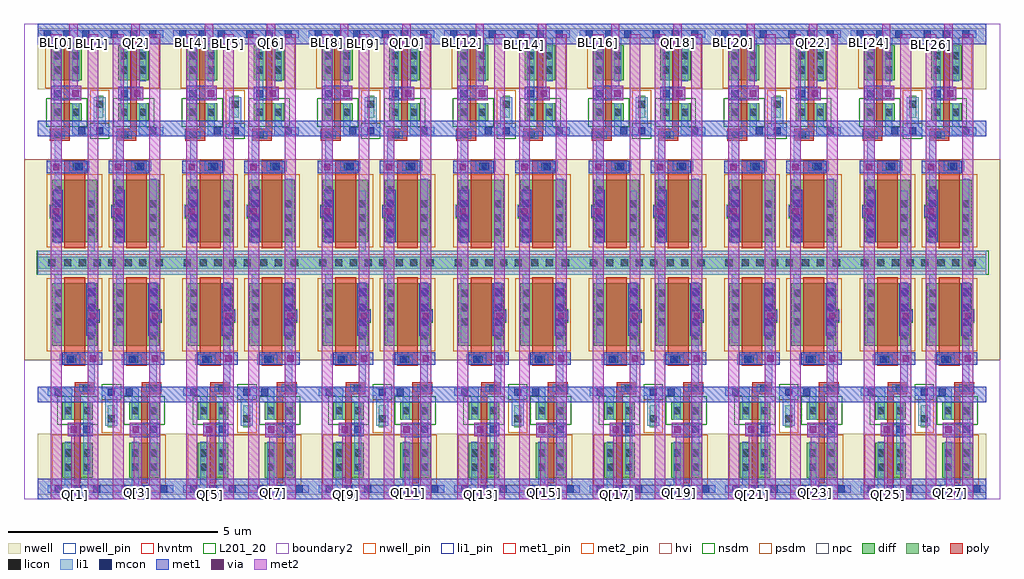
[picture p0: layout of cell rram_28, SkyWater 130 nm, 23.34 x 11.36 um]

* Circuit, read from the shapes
.subckt rram_28 BL[0] BL[10] BL[11] BL[12] BL[13] BL[14] BL[15] BL[16] BL[17] BL[18] BL[19] BL[1] BL[20] BL[21] BL[22] BL[23] BL[24] BL[25] BL[26] BL[27] BL[2] BL[3] BL[4] BL[5] BL[6] BL[7] BL[8] BL[9] Q[0] Q[10] Q[11] Q[12] Q[13] Q[14] Q[15] Q[16] Q[17] Q[18] Q[19] Q[1] Q[20] Q[21] Q[22] Q[23] Q[24] Q[25] Q[26] Q[27] Q[2] Q[3] Q[4] Q[5] Q[6] Q[7] Q[8] Q[9] VGND VPB VPWR
XM1 VGND BL[0] Q[0] VGND sky130_fd_pr__nfet_01v8 w=0.42 l=0.15
XM2 Q[1] BL[1] VGND VGND sky130_fd_pr__nfet_01v8 w=0.42 l=0.15
XM3 VGND BL[2] Q[2] VGND sky130_fd_pr__nfet_01v8 w=0.42 l=0.15
XM4 Q[3] BL[3] VGND VGND sky130_fd_pr__nfet_01v8 w=0.42 l=0.15
XM5 VGND BL[4] Q[4] VGND sky130_fd_pr__nfet_01v8 w=0.42 l=0.15
XM6 Q[5] BL[5] VGND VGND sky130_fd_pr__nfet_01v8 w=0.42 l=0.15
XM7 VGND BL[6] Q[6] VGND sky130_fd_pr__nfet_01v8 w=0.42 l=0.15
XM8 Q[7] BL[7] VGND VGND sky130_fd_pr__nfet_01v8 w=0.42 l=0.15
XM9 VGND BL[8] Q[8] VGND sky130_fd_pr__nfet_01v8 w=0.42 l=0.15
XM10 Q[9] BL[9] VGND VGND sky130_fd_pr__nfet_01v8 w=0.42 l=0.15
XM11 VGND BL[10] Q[10] VGND sky130_fd_pr__nfet_01v8 w=0.42 l=0.15
XM12 Q[11] BL[11] VGND VGND sky130_fd_pr__nfet_01v8 w=0.42 l=0.15
XM13 VGND BL[12] Q[12] VGND sky130_fd_pr__nfet_01v8 w=0.42 l=0.15
XM14 Q[13] BL[13] VGND VGND sky130_fd_pr__nfet_01v8 w=0.42 l=0.15
XM15 VGND BL[14] Q[14] VGND sky130_fd_pr__nfet_01v8 w=0.42 l=0.15
XM16 Q[15] BL[15] VGND VGND sky130_fd_pr__nfet_01v8 w=0.42 l=0.15
XM17 VGND BL[16] Q[16] VGND sky130_fd_pr__nfet_01v8 w=0.42 l=0.15
XM18 Q[17] BL[17] VGND VGND sky130_fd_pr__nfet_01v8 w=0.42 l=0.15
XM19 VGND BL[18] Q[18] VGND sky130_fd_pr__nfet_01v8 w=0.42 l=0.15
XM20 Q[19] BL[19] VGND VGND sky130_fd_pr__nfet_01v8 w=0.42 l=0.15
XM21 VGND BL[20] Q[20] VGND sky130_fd_pr__nfet_01v8 w=0.42 l=0.15
XM22 Q[21] BL[21] VGND VGND sky130_fd_pr__nfet_01v8 w=0.42 l=0.15
XM23 VGND BL[22] Q[22] VGND sky130_fd_pr__nfet_01v8 w=0.42 l=0.15
XM24 Q[23] BL[23] VGND VGND sky130_fd_pr__nfet_01v8 w=0.42 l=0.15
XM25 VGND BL[24] Q[24] VGND sky130_fd_pr__nfet_01v8 w=0.42 l=0.15
XM26 Q[25] BL[25] VGND VGND sky130_fd_pr__nfet_01v8 w=0.42 l=0.15
XM27 VGND BL[26] Q[26] VGND sky130_fd_pr__nfet_01v8 w=0.42 l=0.15
XM28 Q[27] BL[27] VGND VGND sky130_fd_pr__nfet_01v8 w=0.42 l=0.15
XM29 VPWR BL[0] Q[0] VPB sky130_fd_pr__pfet_01v8 w=0.84 l=0.15
XM30 BL[1] BL[1] rram_4_0_0/WL rram_4_0_0/WL sky130_fd_pr__pfet_g5v0d10v5 w=1.5 l=0.5
XM31 rram_4_0_0/WL BL[0] BL[0] rram_4_0_0/WL sky130_fd_pr__pfet_g5v0d10v5 w=1.5 l=0.5
XM32 Q[1] BL[1] VPWR VPB sky130_fd_pr__pfet_01v8 w=0.84 l=0.15
XM33 BL[3] BL[3] rram_4_0_0/WL rram_4_0_0/WL sky130_fd_pr__pfet_g5v0d10v5 w=1.5 l=0.5
XM34 rram_4_0_0/WL BL[2] BL[2] rram_4_0_0/WL sky130_fd_pr__pfet_g5v0d10v5 w=1.5 l=0.5
XM35 VPWR BL[2] Q[2] VPB sky130_fd_pr__pfet_01v8 w=0.84 l=0.15
XM36 Q[3] BL[3] VPWR VPB sky130_fd_pr__pfet_01v8 w=0.84 l=0.15
XM37 VPWR BL[4] Q[4] VPB sky130_fd_pr__pfet_01v8 w=0.84 l=0.15
XM38 BL[5] BL[5] rram_4_0_0/WL rram_4_0_0/WL sky130_fd_pr__pfet_g5v0d10v5 w=1.5 l=0.5
XM39 rram_4_0_0/WL BL[4] BL[4] rram_4_0_0/WL sky130_fd_pr__pfet_g5v0d10v5 w=1.5 l=0.5
XM40 Q[5] BL[5] VPWR VPB sky130_fd_pr__pfet_01v8 w=0.84 l=0.15
XM41 BL[7] BL[7] rram_4_0_0/WL rram_4_0_0/WL sky130_fd_pr__pfet_g5v0d10v5 w=1.5 l=0.5
XM42 rram_4_0_0/WL BL[6] BL[6] rram_4_0_0/WL sky130_fd_pr__pfet_g5v0d10v5 w=1.5 l=0.5
XM43 VPWR BL[6] Q[6] VPB sky130_fd_pr__pfet_01v8 w=0.84 l=0.15
XM44 Q[7] BL[7] VPWR VPB sky130_fd_pr__pfet_01v8 w=0.84 l=0.15
XM45 VPWR BL[8] Q[8] VPB sky130_fd_pr__pfet_01v8 w=0.84 l=0.15
XM46 BL[9] BL[9] rram_4_0_0/WL rram_4_0_0/WL sky130_fd_pr__pfet_g5v0d10v5 w=1.5 l=0.5
XM47 rram_4_0_0/WL BL[8] BL[8] rram_4_0_0/WL sky130_fd_pr__pfet_g5v0d10v5 w=1.5 l=0.5
XM48 Q[9] BL[9] VPWR VPB sky130_fd_pr__pfet_01v8 w=0.84 l=0.15
XM49 BL[11] BL[11] rram_4_0_0/WL rram_4_0_0/WL sky130_fd_pr__pfet_g5v0d10v5 w=1.5 l=0.5
XM50 rram_4_0_0/WL BL[10] BL[10] rram_4_0_0/WL sky130_fd_pr__pfet_g5v0d10v5 w=1.5 l=0.5
XM51 VPWR BL[10] Q[10] VPB sky130_fd_pr__pfet_01v8 w=0.84 l=0.15
XM52 Q[11] BL[11] VPWR VPB sky130_fd_pr__pfet_01v8 w=0.84 l=0.15
XM53 VPWR BL[12] Q[12] VPB sky130_fd_pr__pfet_01v8 w=0.84 l=0.15
XM54 BL[13] BL[13] rram_4_0_0/WL rram_4_0_0/WL sky130_fd_pr__pfet_g5v0d10v5 w=1.5 l=0.5
XM55 rram_4_0_0/WL BL[12] BL[12] rram_4_0_0/WL sky130_fd_pr__pfet_g5v0d10v5 w=1.5 l=0.5
XM56 Q[13] BL[13] VPWR VPB sky130_fd_pr__pfet_01v8 w=0.84 l=0.15
XM57 BL[15] BL[15] rram_4_0_0/WL rram_4_0_0/WL sky130_fd_pr__pfet_g5v0d10v5 w=1.5 l=0.5
XM58 rram_4_0_0/WL BL[14] BL[14] rram_4_0_0/WL sky130_fd_pr__pfet_g5v0d10v5 w=1.5 l=0.5
XM59 VPWR BL[14] Q[14] VPB sky130_fd_pr__pfet_01v8 w=0.84 l=0.15
XM60 Q[15] BL[15] VPWR VPB sky130_fd_pr__pfet_01v8 w=0.84 l=0.15
XM61 VPWR BL[16] Q[16] VPB sky130_fd_pr__pfet_01v8 w=0.84 l=0.15
XM62 BL[17] BL[17] rram_4_0_0/WL rram_4_0_0/WL sky130_fd_pr__pfet_g5v0d10v5 w=1.5 l=0.5
XM63 rram_4_0_0/WL BL[16] BL[16] rram_4_0_0/WL sky130_fd_pr__pfet_g5v0d10v5 w=1.5 l=0.5
XM64 Q[17] BL[17] VPWR VPB sky130_fd_pr__pfet_01v8 w=0.84 l=0.15
XM65 BL[19] BL[19] rram_4_0_0/WL rram_4_0_0/WL sky130_fd_pr__pfet_g5v0d10v5 w=1.5 l=0.5
XM66 rram_4_0_0/WL BL[18] BL[18] rram_4_0_0/WL sky130_fd_pr__pfet_g5v0d10v5 w=1.5 l=0.5
XM67 VPWR BL[18] Q[18] VPB sky130_fd_pr__pfet_01v8 w=0.84 l=0.15
XM68 Q[19] BL[19] VPWR VPB sky130_fd_pr__pfet_01v8 w=0.84 l=0.15
XM69 VPWR BL[20] Q[20] VPB sky130_fd_pr__pfet_01v8 w=0.84 l=0.15
XM70 BL[21] BL[21] rram_4_0_0/WL rram_4_0_0/WL sky130_fd_pr__pfet_g5v0d10v5 w=1.5 l=0.5
XM71 rram_4_0_0/WL BL[20] BL[20] rram_4_0_0/WL sky130_fd_pr__pfet_g5v0d10v5 w=1.5 l=0.5
XM72 Q[21] BL[21] VPWR VPB sky130_fd_pr__pfet_01v8 w=0.84 l=0.15
XM73 BL[23] BL[23] rram_4_0_0/WL rram_4_0_0/WL sky130_fd_pr__pfet_g5v0d10v5 w=1.5 l=0.5
XM74 rram_4_0_0/WL BL[22] BL[22] rram_4_0_0/WL sky130_fd_pr__pfet_g5v0d10v5 w=1.5 l=0.5
XM75 VPWR BL[22] Q[22] VPB sky130_fd_pr__pfet_01v8 w=0.84 l=0.15
XM76 Q[23] BL[23] VPWR VPB sky130_fd_pr__pfet_01v8 w=0.84 l=0.15
XM77 VPWR BL[24] Q[24] VPB sky130_fd_pr__pfet_01v8 w=0.84 l=0.15
XM78 BL[25] BL[25] rram_4_0_0/WL rram_4_0_0/WL sky130_fd_pr__pfet_g5v0d10v5 w=1.5 l=0.5
XM79 rram_4_0_0/WL BL[24] BL[24] rram_4_0_0/WL sky130_fd_pr__pfet_g5v0d10v5 w=1.5 l=0.5
XM80 Q[25] BL[25] VPWR VPB sky130_fd_pr__pfet_01v8 w=0.84 l=0.15
XM81 BL[27] BL[27] rram_4_0_0/WL rram_4_0_0/WL sky130_fd_pr__pfet_g5v0d10v5 w=1.5 l=0.5
XM82 rram_4_0_0/WL BL[26] BL[26] rram_4_0_0/WL sky130_fd_pr__pfet_g5v0d10v5 w=1.5 l=0.5
XM83 VPWR BL[26] Q[26] VPB sky130_fd_pr__pfet_01v8 w=0.84 l=0.15
XM84 Q[27] BL[27] VPWR VPB sky130_fd_pr__pfet_01v8 w=0.84 l=0.15
.ends

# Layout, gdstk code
from math import pi, radians
import gdstk
lib = gdstk.Library(unit=1e-6, precision=1e-09)
def R(c, l, rs):  # rectangles x0, y0, x1, y1
    for r in rs: c.add(gdstk.rectangle(r[:2], r[2:], *l))
def A(c, l, x, y, w, h, nx, ny, dx, dy):  # array of equal rectangles
    R(c, l, [(x+i*dx, y+j*dy, x+i*dx+w, y+j*dy+h) for i in range(nx) for j in range(ny)])
nwell_pin = (64, 16)
nwell = (64, 20)
diff = (65, 20)
tap = (65, 44)
poly = (66, 20)
licon = (66, 44)
li1_pin = (67, 16)
li1 = (67, 20)
mcon = (67, 44)
met1_pin = (68, 16)
met1 = (68, 20)
via = (68, 44)
met2_pin = (69, 16)
met2 = (69, 20)
hvi = (75, 20)
nsdm = (93, 44)
psdm = (94, 20)
npc = (95, 20)
pwell_pin = (122, 16)
hvntm = (125, 20)
L201_20 = (201, 20)
boundary2 = (236, 0)

rram_buff = lib.new_cell('rram_buff')
R(rram_buff, nwell_pin, [(0.145,2.425,0.315,2.595), (0.145,2.425,0.315,2.595)])
R(rram_buff, nwell, [(0,1.19,3.24,2.65)])
R(rram_buff, diff, [(0.325,0.43,1.055,0.85), (1.925,0.43,2.655,0.85), (0.325,1.4,1.055,2.24), (1.925,1.4,2.655,2.24)])
R(rram_buff, tap, [(1.395,0.51,1.565,1.035)])
R(rram_buff, poly, [(0.29,-0.04,0.76,0.24), (1.89,-0.04,2.36,0.24), (0.615,0.06,0.765,2.1), (2.215,0.06,2.365,2.1), (0.615,1.285,0.765,2.375), (2.215,1.285,2.365,2.375)])
R(rram_buff, licon, [(0.395,0.015,0.565,0.185), (1.995,0.015,2.165,0.185), (0.385,0.555,0.555,0.725), (0.825,0.555,0.995,0.725), (1.985,0.555,2.155,0.725), (2.425,0.555,2.595,0.725), (1.395,0.745,1.565,0.915), (0.385,1.565,0.555,1.735), (0.825,1.565,0.995,1.735), (1.985,1.565,2.155,1.735), (2.425,1.565,2.595,1.735), (0.385,1.905,0.555,2.075), (0.825,1.905,0.995,2.075), (1.985,1.905,2.155,2.075), (2.425,1.905,2.595,2.075)])
R(rram_buff, li1, [(0.28,0.01,0.65,0.19), (1.88,0.01,2.25,0.19), (0.82,0.105,1.38,0.275), (2.42,0.105,3,0.275), (0.825,0.11,0.995,0.85), (2.425,0.11,2.595,0.85), (1.335,0.235,1.625,1), (0.385,0.43,0.555,0.94), (1.985,0.43,2.155,0.94), (0.385,0.92,0.555,2.18), (1.985,0.92,2.155,2.16), (0.825,1.38,0.995,2.43), (2.425,1.38,2.595,2.43), (0,2.425,1.38,2.595), (1.6,2.425,3,2.595)])
A(rram_buff, mcon, 0.145, 2.425, 0.17, 0.17, 3, 1, 0.46, 0)
A(rram_buff, mcon, 1.745, 2.425, 0.17, 0.17, 3, 1, 0.46, 0)
R(rram_buff, mcon, [(0.965,0.105,1.135,0.275), (1.395,0.105,1.565,0.275), (2.665,0.105,2.835,0.275), (0.385,0.995,0.555,1.165), (1.985,0.995,2.155,1.165)])
R(rram_buff, met1_pin, [(1.4,0.125,1.55,0.26)])
R(rram_buff, met1, [(0,0.06,3.24,0.43), (0.32,0.93,1.04,1.27), (1.92,0.93,2.52,1.25), (0,2.27,3.24,2.75)])
R(rram_buff, via, [(0.825,1.015,0.975,1.165), (2.305,1.015,2.455,1.165)])
R(rram_buff, met2, [(0.75,0.93,0.95,2.75), (0.75,0.93,1.04,1.27), (2.24,0.93,2.44,2.75), (2.24,0.93,2.52,1.25)])
R(rram_buff, nsdm, [(1.25,0,1.71,0.38), (0.2,0.295,1.18,0.975), (1.8,0.295,2.78,0.975)])
R(rram_buff, psdm, [(1.25,0.38,1.71,1.165), (0.18,1.215,2.9,2.425)])
R(rram_buff, npc, [(0.295,0.015,0.755,0.185), (1.895,0.015,2.355,0.185)])
R(rram_buff, pwell_pin, [(0.965,0.105,1.135,0.275), (0.965,0.105,1.135,0.275)])
rram_buff.add(gdstk.FlexPath([(1.71,2.51),(1.25,2.51)], 0.17, ends="flush", simple_path=True, layer=67, datatype=20))  # li1
rram_buff.add(gdstk.FlexPath([(1.71,0.19),(1.25,0.19)], 0.17, ends="flush", simple_path=True, layer=67, datatype=20))  # li1
rram_buff.add(gdstk.Label('VGND', (1.05,0.19), layer=68, texttype=5))
rram_buff.add(gdstk.Label('VPWR', (1.48,2.51), layer=68, texttype=5))
rram_buff.add(gdstk.Label('VGND', (1.48,0.19), layer=68, texttype=5))
rram_buff.add(gdstk.Label('tapvgnd_1', (1.71,0.19), layer=83, texttype=44))
rram_buff.add(gdstk.Label('VNB', (1.05,0.19), layer=64, texttype=59))
rram_buff.add(gdstk.Label('VPB', (0.23,2.51), layer=64, texttype=5))

rram_cell = lib.new_cell('rram_cell')
R(rram_cell, met1_pin, [(-0.16,-0.13,0.16,0.13), (-0.16,-0.13,0.16,0.13), (-0.16,-0.13,0.16,0.13)])
R(rram_cell, met1, [(-0.16,-0.13,0.16,0.13), (-0.16,-0.13,0.16,0.13), (-0.16,-0.13,0.16,0.13)])
R(rram_cell, via, [(-0.075,-0.075,0.075,0.075)])
R(rram_cell, met2_pin, [(-0.13,-0.16,0.13,0.16), (-0.13,-0.16,0.13,0.16), (-0.13,-0.16,0.13,0.16)])
R(rram_cell, met2, [(-0.13,-0.16,0.13,0.16), (-0.13,-0.16,0.13,0.16), (-0.13,-0.16,0.13,0.16)])
R(rram_cell, L201_20, [(-0.16,-0.16,0.16,0.16)])
rram_cell.add(gdstk.Label('BE', (0,0), layer=68, texttype=5))
rram_cell.add(gdstk.Label('TE', (0,0), layer=69, texttype=5))

hv_pfet = lib.new_cell('hv_pfet')
R(hv_pfet, nwell, [(-1.64,-2.3,2.26,2.5)])
R(hv_pfet, diff, [(-0.97,-1.96,0.11,-0.46), (0.51,-1.96,1.59,-0.46), (-0.97,0.52,0.11,2.02), (0.51,0.52,1.59,2.02)])
R(hv_pfet, tap, [(-1.31,-0.115,1.93,0.175)])
R(hv_pfet, poly, [(-0.68,-2.435,-0.18,-0.32), (0.8,-2.435,1.3,-0.32), (-0.68,0.38,-0.18,2.495), (0.8,0.38,1.3,2.495)])
A(hv_pfet, licon, -0.12, -1.805, 0.17, 0.17, 1, 4, 0, 0.34)
A(hv_pfet, licon, 1.36, -1.805, 0.17, 0.17, 1, 4, 0, 0.34)
A(hv_pfet, licon, -0.91, -1.465, 0.17, 0.17, 1, 3, 0, 0.34)
A(hv_pfet, licon, 0.57, -1.465, 0.17, 0.17, 1, 3, 0, 0.34)
A(hv_pfet, licon, -0.675, -0.055, 0.17, 0.17, 4, 1, 0.35, 0)
A(hv_pfet, licon, -0.91, 0.675, 0.17, 0.17, 1, 4, 0, 0.34)
A(hv_pfet, licon, -0.12, 0.675, 0.17, 0.17, 1, 3, 0, 0.34)
A(hv_pfet, licon, 0.57, 0.675, 0.17, 0.17, 1, 4, 0, 0.34)
A(hv_pfet, licon, 1.36, 0.675, 0.17, 0.17, 1, 3, 0, 0.34)
R(hv_pfet, licon, [(-0.555,-2.365,-0.385,-2.195), (0.925,-2.365,1.095,-2.195), (-1.065,-0.055,-0.895,0.115), (0.765,-0.055,0.935,0.115), (1.115,-0.055,1.285,0.115), (1.505,-0.055,1.675,0.115), (-0.475,2.255,-0.305,2.425), (1.005,2.255,1.175,2.425)])
R(hv_pfet, li1_pin, [(-0.12,-2.3,0.05,-0.44), (1.36,-2.3,1.53,-0.44), (-1.31,-0.26,1.93,0.32), (-0.91,0.5,-0.74,2.36), (0.57,0.5,0.74,2.36)])
R(hv_pfet, li1, [(-0.78,-2.41,-0.3,-2.16), (0.7,-2.41,1.18,-2.16), (-0.12,-2.3,0.05,-0.44), (1.36,-2.3,1.53,-0.44), (-0.91,-1.88,-0.74,0.12), (0.57,-1.87,0.74,0.13), (-1.31,-0.26,1.93,0.32), (-0.91,-0.095,1.53,0.155), (-0.12,-0.07,0.05,1.75), (1.36,-0.06,1.53,2.04), (-0.91,0.5,-0.74,2.36), (0.57,0.5,0.74,2.36), (-0.56,2.22,-0.08,2.47), (0.92,2.22,1.4,2.47)])
A(hv_pfet, mcon, -0.12, -1.475, 0.17, 0.17, 1, 3, 0, 0.36)
A(hv_pfet, mcon, 1.36, -1.475, 0.17, 0.17, 1, 3, 0, 0.36)
A(hv_pfet, mcon, -0.91, 0.645, 0.17, 0.17, 1, 3, 0, 0.36)
A(hv_pfet, mcon, 0.57, 0.645, 0.17, 0.17, 1, 3, 0, 0.36)
R(hv_pfet, mcon, [(-0.62,-2.365,-0.45,-2.195), (0.86,-2.365,1.03,-2.195), (-0.41,2.255,-0.24,2.425), (1.07,2.255,1.24,2.425)])
R(hv_pfet, met1, [(-0.73,-2.41,0.23,-2.11), (0.75,-2.41,1.71,-2.11), (-0.15,-1.72,0.08,-0.46), (1.33,-1.72,1.56,-0.46), (-0.94,0.52,-0.71,1.78), (0.54,0.52,0.77,1.78), (-1.09,2.17,-0.13,2.47), (0.39,2.17,1.35,2.47)])
R(hv_pfet, via, [(-0.065,-2.335,0.085,-2.185), (1.415,-2.335,1.565,-2.185), (-0.945,2.245,-0.795,2.395), (0.535,2.245,0.685,2.395)])
R(hv_pfet, met2_pin, [(-1,-5.44,-0.74,5.5), (-0.12,-5.44,0.14,5.5), (0.48,-5.44,0.74,5.5), (1.36,-5.44,1.62,5.5)])
R(hv_pfet, met2, [(-1,-5.62,-0.74,5.5), (-0.12,-5.62,0.14,5.5), (0.48,-5.62,0.74,5.5), (1.36,-5.62,1.62,5.5)])
R(hv_pfet, hvi, [(-1.64,-2.3,2.26,2.5)])
R(hv_pfet, nsdm, [(-1.335,-0.26,1.985,0.32)])
R(hv_pfet, psdm, [(-1.095,-2.085,0.235,-0.335), (0.385,-2.085,1.715,-0.335), (-1.095,0.395,0.235,2.145), (0.385,0.395,1.715,2.145)])
R(hv_pfet, npc, [(-0.595,-2.405,-0.305,-2.165), (0.885,-2.405,1.175,-2.165), (-0.555,2.225,-0.265,2.465), (0.925,2.225,1.215,2.465)])
R(hv_pfet, hvntm, [(-1.31,-0.17,1.93,0.23)])
hv_pfet.add(gdstk.Reference(rram_cell, (-0.87,1.26), rotation=pi))
hv_pfet.add(gdstk.Reference(rram_cell, (0.61,1.26), rotation=pi))
hv_pfet.add(gdstk.Reference(rram_cell, (0.01,-1.24), rotation=pi))
hv_pfet.add(gdstk.Reference(rram_cell, (1.49,-1.24), rotation=pi))
hv_pfet.add(gdstk.Label('BL[0]', (-0.87,5.28), layer=69, texttype=5))
hv_pfet.add(gdstk.Label('BL[1]', (0.01,5.26), layer=69, texttype=5))
hv_pfet.add(gdstk.Label('BL[2]', (0.62,5.24), layer=69, texttype=5))
hv_pfet.add(gdstk.Label('BL[3]', (1.48,5.2), layer=69, texttype=5))
hv_pfet.add(gdstk.Label('WL', (-1.23,0.04), layer=67, texttype=5))
hv_pfet.add(gdstk.Label('Q[3]', (1.44,-1.81), layer=67, texttype=5))
hv_pfet.add(gdstk.Label('Q[1]', (-0.04,-1.89), layer=67, texttype=5))
hv_pfet.add(gdstk.Label('Q[2]', (0.65,1.99), layer=67, texttype=5))
hv_pfet.add(gdstk.Label('Q[0]', (-0.83,1.98), layer=67, texttype=5))

rram_4 = lib.new_cell('rram_4')
R(rram_4, li1, [(1.19,2.58,1.36,3.14), (2.67,2.58,2.84,3.14), (1.19,3.14,1.36,3.35), (2.67,3.14,2.84,3.35), (0.4,7.8,0.57,8.27), (1.88,7.8,2.05,8.23), (1.88,8.23,2.05,8.69), (0.4,8.27,0.57,8.7)])
R(rram_4, boundary2, [(-0.33,0,3.57,11.36)])
rram_4.add(gdstk.Reference(rram_buff, (0,8.61)))
rram_4.add(gdstk.Reference(hv_pfet, (1.31,5.62)))
rram_4.add(gdstk.Reference(rram_buff, (3.24,2.75), rotation=pi))
rram_4.add(gdstk.Label('VGND', (1.29,8.59), layer=68, texttype=5))
rram_4.add(gdstk.Label('VPWR', (1.48,10.7), layer=68, texttype=5))
rram_4.add(gdstk.Label('VGND', (1.76,2.56), layer=68, texttype=5))
rram_4.add(gdstk.Label('VPWR', (1.76,0.24), layer=68, texttype=5))
rram_4.add(gdstk.Label('Q[2]', (2.35,10.72), layer=69, texttype=5))
rram_4.add(gdstk.Label('Q[1]', (0.9,0.2), layer=69, texttype=5))
rram_4.add(gdstk.Label('BL[0]', (0.44,10.72), layer=69, texttype=5))
rram_4.add(gdstk.Label('BL[1]', (1.32,10.7), layer=69, texttype=5))
rram_4.add(gdstk.Label('BL[2]', (1.93,10.68), layer=69, texttype=5))
rram_4.add(gdstk.Label('BL[3]', (2.79,10.64), layer=69, texttype=5))
rram_4.add(gdstk.Label('Q[0]', (0.84,10.71), layer=69, texttype=5))
rram_4.add(gdstk.Label('Q[1]', (0.9,0.2), layer=69, texttype=5))
rram_4.add(gdstk.Label('Q[3]', (2.39,0.25), layer=69, texttype=5))
rram_4.add(gdstk.Label('Q[0]', (0.84,10.71), layer=69, texttype=5))
rram_4.add(gdstk.Label('Q[3]', (2.35,10.72), layer=69, texttype=5))
rram_4.add(gdstk.Label('Q[3]', (2.39,0.25), layer=69, texttype=5))
rram_4.add(gdstk.Label('WL', (0.13,5.47), layer=67, texttype=5))

rram_28 = lib.new_cell('rram_28')
r = gdstk.Reference(rram_4, (0,0)); r.repetition = gdstk.Repetition(1, 1, v1=(0,0), v2=(0,0)); rram_28.add(r)
r = gdstk.Reference(rram_4, (3.24,0)); r.repetition = gdstk.Repetition(1, 1, v1=(0,0), v2=(0,0)); rram_28.add(r)
r = gdstk.Reference(rram_4, (9.72,0)); r.repetition = gdstk.Repetition(1, 1, v1=(0,0), v2=(0,0)); rram_28.add(r)
r = gdstk.Reference(rram_4, (12.96,0)); r.repetition = gdstk.Repetition(1, 1, v1=(0,0), v2=(0,0)); rram_28.add(r)
r = gdstk.Reference(rram_4, (16.2,0)); r.repetition = gdstk.Repetition(1, 1, v1=(0,0), v2=(0,0)); rram_28.add(r)
r = gdstk.Reference(rram_4, (19.44,0)); r.repetition = gdstk.Repetition(1, 1, v1=(0,0), v2=(0,0)); rram_28.add(r)
r = gdstk.Reference(rram_4, (6.48,0)); r.repetition = gdstk.Repetition(1, 1, v1=(0,0), v2=(0,0)); rram_28.add(r)
rram_28.add(gdstk.Label('Q[2]', (2.35,10.91), layer=69, texttype=5))
rram_28.add(gdstk.Label('Q[6]', (5.59,10.91), layer=69, texttype=5))
rram_28.add(gdstk.Label('Q[10]', (8.83,10.91), layer=69, texttype=5))
rram_28.add(gdstk.Label('Q[18]', (15.31,10.91), layer=69, texttype=5))
rram_28.add(gdstk.Label('Q[22]', (18.55,10.91), layer=69, texttype=5))
rram_28.add(gdstk.Label('BL[0]', (0.44,10.91), layer=69, texttype=5))
rram_28.add(gdstk.Label('BL[4]', (3.68,10.91), layer=69, texttype=5))
rram_28.add(gdstk.Label('BL[8]', (6.92,10.91), layer=69, texttype=5))
rram_28.add(gdstk.Label('BL[12]', (10.16,10.91), layer=69, texttype=5))
rram_28.add(gdstk.Label('BL[16]', (13.4,10.91), layer=69, texttype=5))
rram_28.add(gdstk.Label('BL[20]', (16.64,10.91), layer=69, texttype=5))
rram_28.add(gdstk.Label('BL[24]', (19.88,10.91), layer=69, texttype=5))
rram_28.add(gdstk.Label('BL[1]', (1.32,10.89), layer=69, texttype=5))
rram_28.add(gdstk.Label('BL[5]', (4.56,10.89), layer=69, texttype=5))
rram_28.add(gdstk.Label('BL[9]', (7.8,10.89), layer=69, texttype=5))
rram_28.add(gdstk.Label('BL[13]', (11.04,10.89), layer=69, texttype=5))
rram_28.add(gdstk.Label('BL[17]', (14.28,10.89), layer=69, texttype=5))
rram_28.add(gdstk.Label('BL[21]', (17.52,10.89), layer=69, texttype=5))
rram_28.add(gdstk.Label('BL[25]', (20.76,10.89), layer=69, texttype=5))
rram_28.add(gdstk.Label('BL[2]', (1.93,10.87), layer=69, texttype=5))
rram_28.add(gdstk.Label('BL[6]', (5.17,10.87), layer=69, texttype=5))
rram_28.add(gdstk.Label('BL[10]', (8.41,10.87), layer=69, texttype=5))
rram_28.add(gdstk.Label('BL[14]', (11.65,10.87), layer=69, texttype=5))
rram_28.add(gdstk.Label('BL[18]', (14.89,10.87), layer=69, texttype=5))
rram_28.add(gdstk.Label('BL[22]', (18.13,10.87), layer=69, texttype=5))
rram_28.add(gdstk.Label('BL[26]', (21.37,10.87), layer=69, texttype=5))
rram_28.add(gdstk.Label('BL[3]', (2.79,10.83), layer=69, texttype=5))
rram_28.add(gdstk.Label('BL[7]', (6.03,10.83), layer=69, texttype=5))
rram_28.add(gdstk.Label('BL[11]', (9.27,10.83), layer=69, texttype=5))
rram_28.add(gdstk.Label('BL[15]', (12.51,10.83), layer=69, texttype=5))
rram_28.add(gdstk.Label('BL[19]', (15.75,10.83), layer=69, texttype=5))
rram_28.add(gdstk.Label('BL[23]', (18.99,10.83), layer=69, texttype=5))
rram_28.add(gdstk.Label('BL[27]', (22.23,10.83), layer=69, texttype=5))
rram_28.add(gdstk.Label('Q[0]', (0.84,10.9), layer=69, texttype=5))
rram_28.add(gdstk.Label('Q[4]', (4.08,10.9), layer=69, texttype=5))
rram_28.add(gdstk.Label('Q[8]', (7.32,10.9), layer=69, texttype=5))
rram_28.add(gdstk.Label('Q[12]', (10.56,10.9), layer=69, texttype=5))
rram_28.add(gdstk.Label('Q[16]', (13.8,10.9), layer=69, texttype=5))
rram_28.add(gdstk.Label('Q[20]', (17.04,10.9), layer=69, texttype=5))
rram_28.add(gdstk.Label('Q[24]', (20.28,10.9), layer=69, texttype=5))
rram_28.add(gdstk.Label('Q[0]', (0.84,10.9), layer=69, texttype=5))
rram_28.add(gdstk.Label('Q[14]', (12.07,10.91), layer=69, texttype=5))
rram_28.add(gdstk.Label('Q[26]', (21.79,10.91), layer=69, texttype=5))
rram_28.add(gdstk.Label('Q[1]', (0.9,0.1), layer=69, texttype=5))
rram_28.add(gdstk.Label('Q[5]', (4.14,0.1), layer=69, texttype=5))
rram_28.add(gdstk.Label('Q[13]', (10.62,0.1), layer=69, texttype=5))
rram_28.add(gdstk.Label('Q[17]', (13.86,0.1), layer=69, texttype=5))
rram_28.add(gdstk.Label('Q[21]', (17.1,0.1), layer=69, texttype=5))
rram_28.add(gdstk.Label('Q[25]', (20.34,0.1), layer=69, texttype=5))
rram_28.add(gdstk.Label('Q[9]', (7.38,0.1), layer=69, texttype=5))
rram_28.add(gdstk.Label('Q[3]', (2.39,0.15), layer=69, texttype=5))
rram_28.add(gdstk.Label('Q[7]', (5.63,0.15), layer=69, texttype=5))
rram_28.add(gdstk.Label('Q[15]', (12.11,0.15), layer=69, texttype=5))
rram_28.add(gdstk.Label('Q[19]', (15.35,0.15), layer=69, texttype=5))
rram_28.add(gdstk.Label('Q[23]', (18.59,0.15), layer=69, texttype=5))
rram_28.add(gdstk.Label('Q[27]', (21.83,0.15), layer=69, texttype=5))
rram_28.add(gdstk.Label('Q[11]', (8.87,0.15), layer=69, texttype=5))

lib.write_gds('rram_28.gds')
